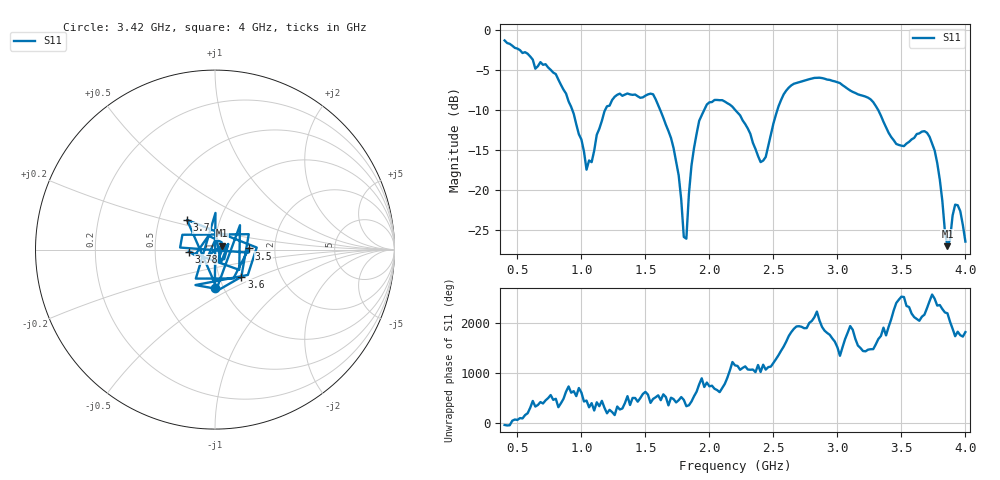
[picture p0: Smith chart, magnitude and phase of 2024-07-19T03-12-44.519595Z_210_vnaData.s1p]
!Created with skrf (http://scikit-rf.org).
# Hz S RI R 50.0
!freq ReS11 ImS11
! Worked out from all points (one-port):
!   181 points, 400 MHz to 4 GHz, reference 50 ohm
!   lowest |S11| = -27.0 dB at 3.86 GHz (marker M1), VSWR 1.09, Z = 54 + j2.41 ohm
!   |S11| at or under -10 dB: 1.615 GHz to 1.96 GHz (345.4 MHz wide, 19.3 % of centre); 2.2 GHz to 2.532 GHz (331.6 MHz wide, 14 % of centre); 3.318 GHz to end of sweep (the widest 3 of 4)
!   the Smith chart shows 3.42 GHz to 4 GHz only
!   S11 on the Smith chart (normalised r, x): 3.42 GHz: 0.91, -0.41; 3.5 GHz: 1.47, +0.02; 3.6 GHz: 1.27, -0.40; 3.7 GHz: 0.70, +0.24; 3.78 GHz: 0.74, -0.02; 4 GHz: 1.10, +0.03
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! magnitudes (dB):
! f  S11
! 400 MHz  -1.4
! 860 MHz  -7.5
! 1.04 GHz  -17.5
! 1.18 GHz  -10.2
! 1.3 GHz  -8.0
! 1.56 GHz  -8.1
! 1.7 GHz  -13.5
! 1.76 GHz  -18.2
! 1.8 GHz  -25.9
! 1.82 GHz  -26.1
! 1.86 GHz  -16.9
! 1.92 GHz  -11.4
! 2.04 GHz  -8.8
! 2.2 GHz  -10.0
! 2.4 GHz  -16.5
! 2.56 GHz  -8.8
! 2.66 GHz  -6.8
! 3.1 GHz  -7.6
! 3.28 GHz  -9.0
! 3.42 GHz  -13.4
! 3.5 GHz  -14.5
! 3.56 GHz  -14.0
! 3.6 GHz  -13.5
! 3.7 GHz  -12.9
! 3.78 GHz  -16.6
! 3.86 GHz  -27.0
! 3.92 GHz  -21.8
! 4 GHz  -26.4
